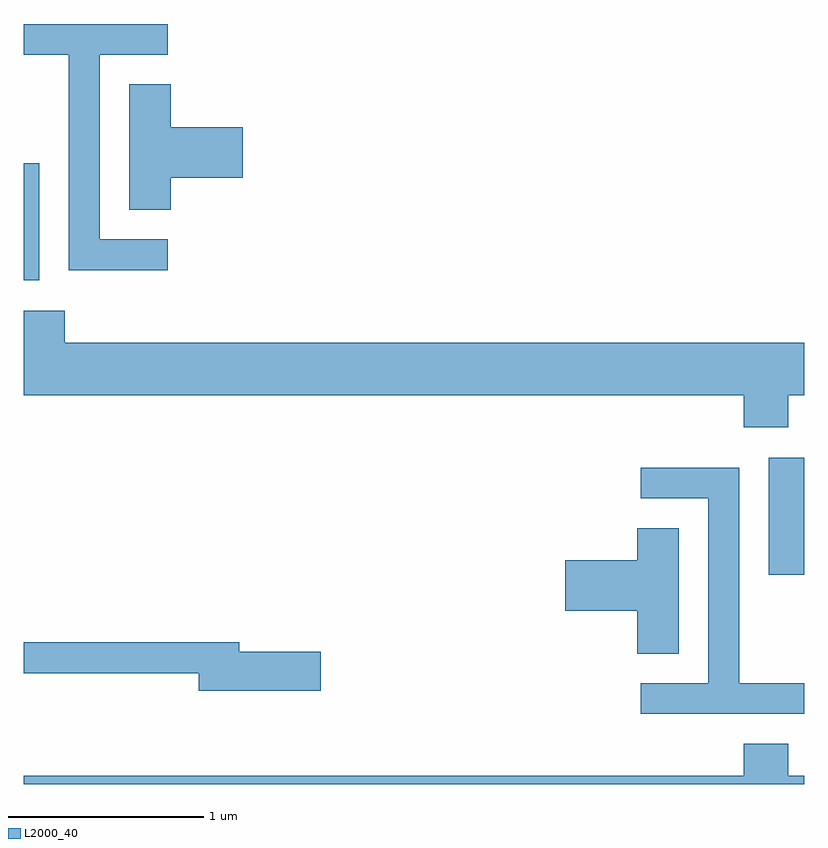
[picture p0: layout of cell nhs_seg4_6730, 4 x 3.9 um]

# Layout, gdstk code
import gdstk
lib = gdstk.Library(unit=1e-6, precision=1e-09)
def R(c, l, rs):  # rectangles x0, y0, x1, y1
    for r in rs: c.add(gdstk.rectangle(r[:2], r[2:], *l))
def P(c, l, *ps):  # polygons
    for p in ps: c.add(gdstk.Polygon(p, *l))
L2000_40 = (2000, 40)

nhs_seg4_6730 = lib.new_cell('nhs_seg4_6730')
R(nhs_seg4_6730, L2000_40, [(385.431,1387.056,385.611,1387.654), (381.611,1388.566,381.689,1389.164)])
P(nhs_seg4_6730, L2000_40, [(382.348,1388.774),(381.999,1388.774),(381.999,1389.721),(382.348,1389.721),(382.348,1389.879),(381.611,1389.879),(381.611,1389.721),(381.841,1389.721),(381.841,1388.616),(382.348,1388.616)],
  [(382.364,1389.091),(382.734,1389.091),(382.734,1389.349),(382.364,1389.349),(382.364,1389.569),(382.151,1389.569),(382.151,1388.926),(382.364,1388.926)],
  [(385.529,1387.976),(385.611,1387.976),(385.611,1388.244),(381.819,1388.244),(381.819,1388.409),(381.611,1388.409),(381.611,1387.976),(385.301,1387.976),(385.301,1387.811),(385.529,1387.811)],
  [(385.611,1386.499),(385.279,1386.499),(385.279,1387.604),(384.773,1387.604),(384.773,1387.446),(385.121,1387.446),(385.121,1386.499),(384.773,1386.499),(384.773,1386.341),(385.611,1386.341)],
  [(384.969,1387.294),(384.756,1387.294),(384.756,1387.129),(384.386,1387.129),(384.386,1386.871),(384.756,1386.871),(384.756,1386.651),(384.969,1386.651)],
  [(383.134,1386.659),(382.714,1386.659),(382.714,1386.709),(381.611,1386.709),(381.611,1386.551),(382.506,1386.551),(382.506,1386.461),(383.134,1386.461)],
  [(385.611,1386.024),(385.529,1386.024),(385.529,1386.189),(385.301,1386.189),(385.301,1386.024),(381.611,1386.024),(381.611,1385.982),(385.611,1385.982)])

lib.write_gds('nhs_seg4_6730.gds')
